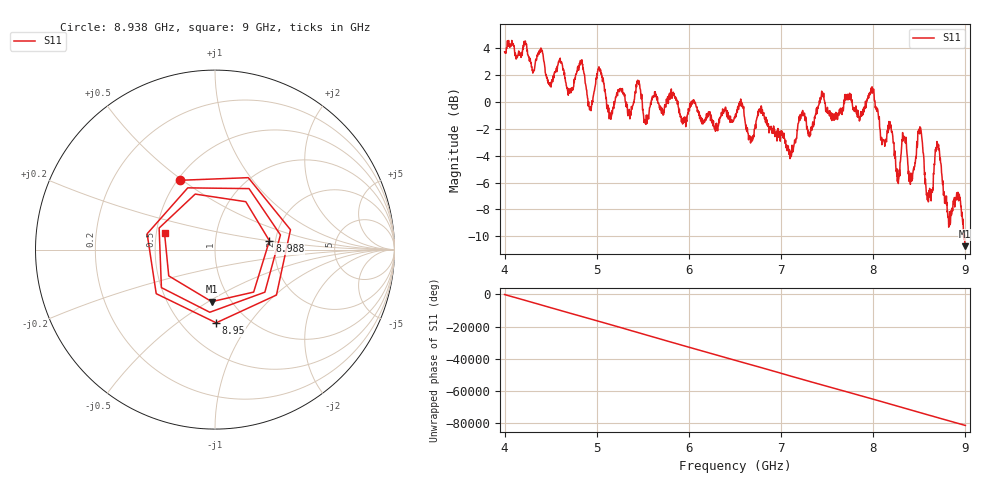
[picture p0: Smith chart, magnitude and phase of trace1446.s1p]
! Created with skrf 1.8.0 (http://scikit-rf.org).
# Hz S RI R 50.0
!freq ReS11 ImS11
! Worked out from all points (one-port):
!   1601 points, 4 GHz to 9 GHz, reference 50 ohm
!   lowest |S11| = -10.7 dB at 8.994 GHz (marker M1), VSWR 1.82, Z = 40.8 - j25.9 ohm
!   |S11| at or under -10 dB: 8.984415 GHz to 8.990131 GHz (5.717 MHz wide, 0.0636 % of centre); 8.991373 GHz to end of sweep
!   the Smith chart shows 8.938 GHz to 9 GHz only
!   S11 on the Smith chart (normalised r, x): 8.938 GHz: 0.51, +0.49; 8.95 GHz: 0.72, -0.71; 8.988 GHz: 1.86, +0.20; 9 GHz: 0.55, +0.11
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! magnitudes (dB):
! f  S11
! 4 GHz  3.7
! 4.625 GHz  2.8
! 4.709 GHz  0.7
! 4.838 GHz  3.1
! 4.931 GHz  -0.4
! 5.028 GHz  2.4
! 5.144 GHz  -0.9
! 5.25 GHz  1.0
! 5.453 GHz  1.4
! 5.538 GHz  -1.0
! 5.875 GHz  -0.2
! 6.5 GHz  -1.2
! 7.125 GHz  -3.3
! 7.441 GHz  0.8
! 7.75 GHz  0.3
! 7.988 GHz  1.1
! 8.262 GHz  -5.9
! 8.334 GHz  -2.6
! 8.375 GHz  -4.6
! 8.509 GHz  -2.3
! 8.597 GHz  -7.4
! 8.697 GHz  -3.1
! 8.822 GHz  -9.0
! 8.938 GHz  -7.3
! 8.95 GHz  -7.8
! 8.988 GHz  -10.3
! 8.994 GHz  -10.7
! 9 GHz  -10.6
